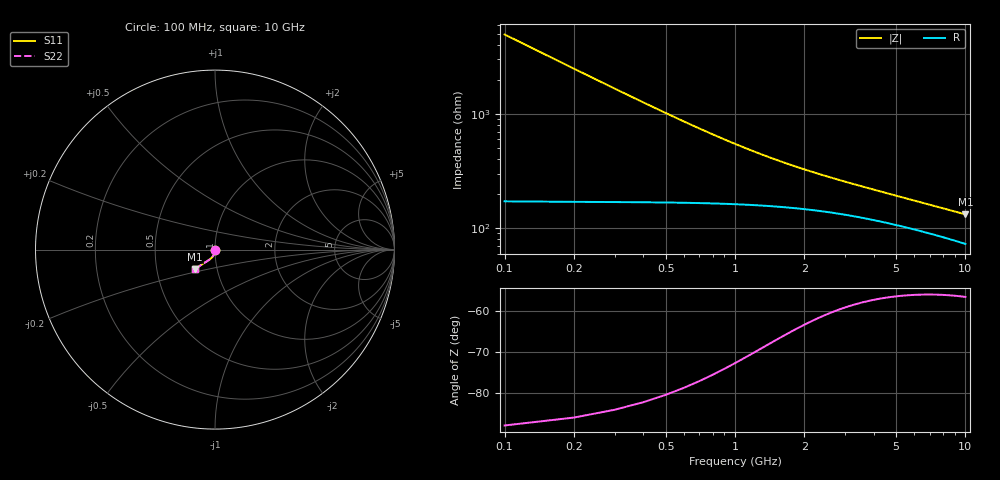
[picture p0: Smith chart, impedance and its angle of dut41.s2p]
! Touchstone file exported from HFSS 2024.1.0
!  File:  C:/UserFiles/LocalFiles/RDL_TSV_Batchsim/temp_TSV1_41_1778764254.aedt
!  Generated:  09:15:05 PM May 14, 2026
!  Design:  TSV1
!  Project:  temp_TSV1_41_1778764254
!  Setup:  Setup1
!  Solution:  Sweep
! Variables:
!  dtsv = 26.81um
!  hbump = 3um
!  htsv = 99.26um
!  lrdl = 252.1521522um
!  p = 40
!  p1 = 56.84um
!  t = 500um
!  trdl = 3um
!  wrdl = 24.89489489um
# GHz S MA R 50.000000
! Terminal data exported
! Port[1] = TSV22_T1
! Port[2] = TSV22_T2
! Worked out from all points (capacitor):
!   100 points, 100 MHz to 10 GHz, reference 50 ohm
!   read as one part in shunt: C = 320 fF near 100 MHz
!   lowest |Z| = 132 ohm at 10 GHz (marker M1)
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0.1  0.004754 -91.3  0.9997 -0.3  0.9997 -0.3  0.004754 -91.3
! Gamma 0 0 0 0
! Port Impedance 50 0 50 0
0.2  0.009472 -94.0  0.9991 -0.6  0.9991 -0.6  0.009472 -94.0
0.3  0.01412 -96.3  0.9982 -0.9  0.9982 -0.9  0.01412 -96.3
0.4  0.01868 -98.5  0.9969 -1.2  0.9969 -1.2  0.01868 -98.5
0.5  0.0231 -100.6  0.9954 -1.5  0.9954 -1.5  0.0231 -100.6
0.6  0.02739 -102.7  0.9936 -1.7  0.9936 -1.7  0.02739 -102.7
0.7  0.03151 -104.6  0.9917 -2.0  0.9917 -2.0  0.03151 -104.6
0.8  0.03546 -106.5  0.9896 -2.2  0.9896 -2.2  0.03546 -106.5
0.9  0.03924 -108.2  0.9874 -2.4  0.9874 -2.4  0.03924 -108.2
1.1  0.04624 -111.4  0.983 -2.8  0.983 -2.8  0.04624 -111.4
1.4  0.05547 -115.5  0.9763 -3.3  0.9763 -3.3  0.05547 -115.5
1.6  0.06086 -117.8  0.9721 -3.5  0.9721 -3.5  0.06086 -117.8
1.8  0.06574 -119.8  0.9681 -3.8  0.9681 -3.8  0.06574 -119.8
2.1  0.07225 -122.3  0.9626 -4.1  0.9626 -4.1  0.07225 -122.3
2.5  0.07979 -124.8  0.956 -4.5  0.956 -4.5  0.07979 -124.8
2.9  0.08638 -126.7  0.9502 -4.8  0.9502 -4.8  0.08638 -126.7
3.4  0.09372 -128.5  0.9439 -5.2  0.9439 -5.2  0.09372 -128.5
4.2  0.104 -130.4  0.9353 -5.8  0.9353 -5.8  0.104 -130.4
5.1  0.1143 -131.9  0.9272 -6.4  0.9272 -6.4  0.1143 -131.9
6.7  0.13 -133.6  0.9153 -7.4  0.9153 -7.4  0.13 -133.6
8.4  0.1444 -134.7  0.905 -8.3  0.905 -8.3  0.1444 -134.7
10  0.1565 -135.4  0.8969 -9.2  0.8969 -9.2  0.1565 -135.4
